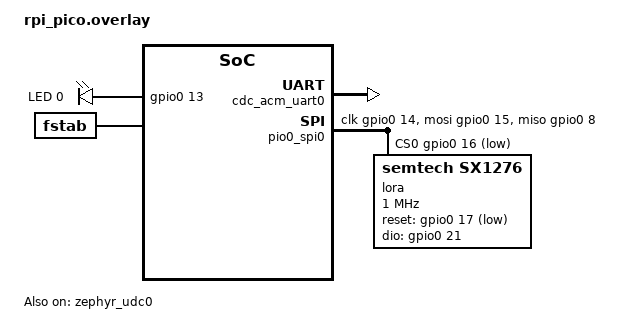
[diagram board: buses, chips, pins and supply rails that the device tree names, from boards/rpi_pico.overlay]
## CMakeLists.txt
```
cmake_minimum_required(VERSION 3.13.1)

find_package(Zephyr REQUIRED HINTS $ENV{ZEPHYR_BASE})
project(app)

# include(${ZEPHYR_BASE}/samples/subsys/usb/common/common.cmake)
FILE(GLOB app_sources src/*.c src/tasks/*.c)
target_sources(app PRIVATE ${app_sources})

zephyr_cc_option(-Wfatal-errors)
```

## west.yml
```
manifest:

  remotes:
    - name: zephyrproject-rtos
      url-base: https://github.com/zephyrproject-rtos

  projects:
    - name: zephyr
      remote: zephyrproject-rtos
      repo-path: zephyr
      revision: main
      clone-depth: 1
      import:
        name-allowlist:
          - cmsis
          - hal_nordic
          - hal_stm32
          - hal_rpi_pico
          - loramac-node
          - littlefs
```

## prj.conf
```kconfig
# Stack
CONFIG_MAIN_STACK_SIZE=4096

# Debugging
# CONFIG_THREAD_MONITOR=y
# CONFIG_THREAD_STACK_INFO=y
# CONFIG_THREAD_NAME=y

# CONFIG_THREAD_ANALYZER=y
# CONFIG_THREAD_ANALYZER_USE_LOG=y
# CONFIG_THREAD_ANALYZER_AUTO=y
# CONFIG_THREAD_ANALYZER_AUTO_INTERVAL=5

CONFIG_FS_LOG_LEVEL_ERR=y         # LittleFS
CONFIG_SETTINGS_LOG_LEVEL_ERR=y   # Settings
CONFIG_USB_DRIVER_LOG_LEVEL_ERR=y # USB Driver
CONFIG_LORA_LOG_LEVEL_ERR=y       # LoRa

# Logging
CONFIG_LOG=y

# USB
CONFIG_SERIAL=y
CONFIG_CONSOLE=y
CONFIG_UART_CONSOLE=y
CONFIG_UART_LINE_CTRL=y
CONFIG_USB_DEVICE_STACK=y

# USB - Identification
CONFIG_USB_DEVICE_PRODUCT="Entangler"
CONFIG_USB_DEVICE_VID=0x2E8A
CONFIG_USB_DEVICE_PID=0x0100

# Shell
CONFIG_SHELL=y
CONFIG_SHELL_MINIMAL=y
CONFIG_SHELL_HELP=y
CONFIG_GPIO=y
CONFIG_GPIO_SHELL=y

# LoRa
CONFIG_LORA=y
CONFIG_LORA_SHELL=y
CONFIG_LORA_SX127X=y

# LEDs
CONFIG_LED_STRIP=y

# FS
CONFIG_FLASH=y
CONFIG_FLASH_MAP=y
CONFIG_FLASH_PAGE_LAYOUT=y
CONFIG_FILE_SYSTEM=y
CONFIG_FILE_SYSTEM_SHELL=y
CONFIG_FILE_SYSTEM_LITTLEFS=y
CONFIG_FS_LITTLEFS_FMP_DEV=y

# Settings
CONFIG_SETTINGS=y
CONFIG_SETTINGS_SHELL=y
CONFIG_SETTINGS_FILE=y
CONFIG_SETTINGS_FILE_PATH="/lfs/settings"
```

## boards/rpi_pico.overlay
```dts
#include <zephyr/dt-bindings/led/led.h>

/ {
	chosen {
		zephyr,console = &cdc_acm_uart0;
		zephyr,shell-uart = &cdc_acm_uart0;
		zephyr,uart-mcumgr = &cdc_acm_uart0;
		zephyr,flash = &flash0;
	};

	aliases {
		lora0 = &lora;
		led-strip = &ws2812;
		led0 = &led0;
	};

	leds {
		compatible = "gpio-leds";
		led0: led_0 {
			gpios = <&gpio0 13 GPIO_ACTIVE_HIGH>;
			label = "LED 0";
		};
	};

	fstab {
        compatible = "zephyr,fstab";
        lfs: lfs {
            compatible = "zephyr,fstab,littlefs";
            mount-point = "/lfs";
            partition = <&storage_partition>;
            automount;
            read-size = <16>;
            prog-size = <16>;
            cache-size = <64>;
            lookahead-size = <64>;
            block-cycles = <512>;
            no-format;
        };
    };
};

&zephyr_udc0 {
	status = "okay";
	cdc_acm_uart0: cdc_acm_uart0 {
		compatible = "zephyr,cdc-acm-uart";
		label = "CDC_ACM_0";
	};
};

&pinctrl {
	pio_lora_spi: pio_lora_spi {
		group1 {
			pinmux = <PIO0_P14>, <PIO0_P15>;	
		};
		group2 {
			pinmux = <PIO0_P8>;
			input-enable;	
		};
	};
	ws2812_pio0_default: ws2812_pio0_default {
		ws2812 {
			pinmux = <PIO0_P4>;
		};
	};
};

&pio0 {
	status = "okay";

	pio0_spi0: pio0_spi0 {
		pinctrl-0 = <&pio_lora_spi>;
		pinctrl-names = "default";

		compatible = "raspberrypi,pico-spi-pio";
		status = "okay";
		#address-cells = <1>;
		#size-cells = <0>;
		clocks = <&clocks RPI_PICO_CLKID_CLK_SYS>;
		miso-gpios = <&gpio0 8 0>;
		cs-gpios = <&gpio0 16 GPIO_ACTIVE_LOW>;
		clk-gpios = <&gpio0 14 GPIO_ACTIVE_HIGH>;
		mosi-gpios = <&gpio0 15 GPIO_ACTIVE_HIGH>;

		lora: lora@0 {
			compatible = "semtech,sx1276";
			reg = <0>;
			reset-gpios = <&gpio0 17 GPIO_ACTIVE_LOW>;
			dio-gpios = <&gpio0 21 (GPIO_PULL_DOWN | GPIO_ACTIVE_HIGH)>;
			spi-max-frequency = <1000000>;
			power-amplifier-output = "pa-boost";
		};
	};

	pio-ws2812 {
		compatible = "worldsemi,ws2812-rpi_pico-pio";
		status = "okay";
		pinctrl-0 = <&ws2812_pio0_default>;
		pinctrl-names = "default";
		bit-waveform = <3>, <3>, <4>;

		ws2812: ws2812 {
			status = "okay";
			gpios = <&gpio0 4 GPIO_ACTIVE_HIGH>;
			chain-length = <1>;
			color-mapping = <LED_COLOR_ID_GREEN LED_COLOR_ID_RED LED_COLOR_ID_BLUE>;
			reset-delay = <280>;
			frequency = <800000>;
		};
	};
};

&flash0 {
	reg = <0x10000000 DT_SIZE_M(2)>;

	partitions {
		compatible = "fixed-partitions";
		#address-cells = <1>;
		#size-cells = <1>;

		/* Reserved memory for the second stage bootloader */
		second_stage_bootloader: partition@0 {
			label = "second_stage_bootloader";
			reg = <0x00000000 0x100>;
			read-only;
		};

		code_partition: partition@100 {
			label = "code-partition";
			reg = <0x100 (DT_SIZE_M(1)-0x100)>;
			read-only;
		};

		storage_partition: storage_partition@100000 {
			label = "storage-partition";
			reg = <DT_SIZE_M(1) (DT_SIZE_M(1))>;
		};
	};
};
```

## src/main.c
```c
#include <errno.h>
#include <zephyr/device.h>
#include <zephyr/drivers/led_strip.h>
#include <zephyr/drivers/lora.h>
#include <zephyr/drivers/uart.h>
#include <zephyr/kernel.h>
#include <zephyr/sys/printk.h>
#include <zephyr/sys/util.h>
#include <zephyr/usb/usb_device.h>

#include "tasks.h"

#include <zephyr/logging/log.h>
LOG_MODULE_REGISTER(main, CONFIG_LOG_MAX_LEVEL);

int main(void) {
  /* Enable Logging */
  const struct device *const dev = DEVICE_DT_GET(DT_CHOSEN(zephyr_console));
  uint32_t dtr = 0;

  if (usb_enable(NULL)) {
    return 0;
  }

  /* Poll if the DTR flag was set */
  while (!dtr) {
    uart_line_ctrl_get(dev, UART_LINE_CTRL_DTR, &dtr);
    // Give CPU resources to low priority threads.
    k_sleep(K_MSEC(100));
  }
  return 0;
}
```

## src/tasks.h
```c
#ifndef INCLUDE_TASKS_H_
#define INCLUDE_TASKS_H_

#include "tasks/lora.h"
#include "tasks/neopixel.h"

#endif /* INCLUDE_TASKS_H_ */
```
